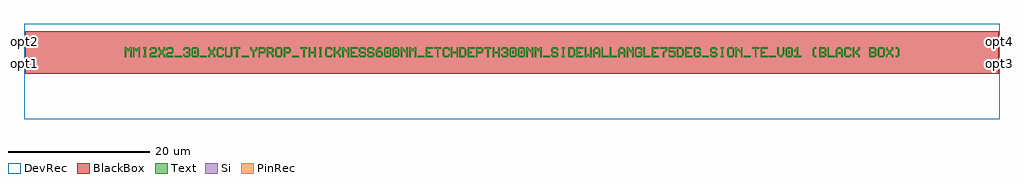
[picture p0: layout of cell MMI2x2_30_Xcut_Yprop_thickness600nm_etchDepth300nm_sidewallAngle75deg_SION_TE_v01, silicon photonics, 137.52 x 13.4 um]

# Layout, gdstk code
import gdstk
lib = gdstk.Library(unit=1e-6, precision=1e-10)
def R(c, l, rs):  # rectangles x0, y0, x1, y1
    for r in rs: c.add(gdstk.rectangle(r[:2], r[2:], *l))
def A(c, l, x, y, w, h, nx, ny, dx, dy):  # array of equal rectangles
    R(c, l, [(x+i*dx, y+j*dy, x+i*dx+w, y+j*dy+h) for i in range(nx) for j in range(ny)])
def P(c, l, *ps):  # polygons
    for p in ps: c.add(gdstk.Polygon(p, *l))
Si = (1, 0)
PinRec = (1, 10)
Text = (10, 0)
DevRec = (68, 0)
BlackBox = (998, 0)

text = lib.new_cell('TEXT')
A(text, Text, 23.58, 0, 0.983, 0.197, 3, 1, 17.685, 0)
R(text, Text, [(7.074,0,8.057,0.197), (10.611,0,11.594,0.197), (16.506,0,17.489,0.197), (81.351,0,82.334,0.197), (87.246,0,88.229,0.197), (90.783,0,91.766,0.197), (9.825,0.491,10.022,0.885), (36.942,0.491,37.139,0.885), (38.121,0.491,38.318,0.885), (54.627,0.491,54.824,0.885), (55.806,0.491,56.003,0.885), (93.534,0.491,93.731,0.885)])
P(text, Text, [(0,0),(0,1.376),(0.197,1.376),(0.393,1.179),(0.59,1.179),(0.786,1.376),(0.983,1.376),(0.983,0),(0.786,0),(0.786,0.983),(0.688,0.983),(0.491,0.786),(0.295,0.983),(0.197,0.983),(0.197,0)],
  [(1.179,0),(1.179,1.376),(1.376,1.376),(1.572,1.179),(1.769,1.179),(1.965,1.376),(2.162,1.376),(2.162,0),(1.965,0),(1.965,0.983),(1.867,0.983),(1.67,0.786),(1.474,0.983),(1.376,0.983),(1.376,0)],
  [(2.653,0),(2.653,0.197),(2.751,0.197),(2.751,1.179),(2.653,1.179),(2.653,1.376),(3.046,1.376),(3.046,1.179),(2.948,1.179),(2.948,0.197),(3.046,0.197),(3.046,0)],
  [(3.537,0),(3.537,0.491),(3.734,0.688),(4.225,0.688),(4.323,0.786),(4.323,1.081),(4.225,1.179),(3.832,1.179),(3.734,1.081),(3.734,0.983),(3.537,0.983),(3.537,1.179),(3.734,1.376),(4.323,1.376),(4.52,1.179),(4.52,0.688),(4.323,0.491),(3.832,0.491),(3.734,0.393),(3.734,0.197),(4.52,0.197),(4.52,0)],
  [(4.716,0),(4.716,0.295),(5.011,0.59),(5.011,0.786),(4.716,1.081),(4.716,1.376),(4.913,1.376),(4.913,1.179),(5.207,0.885),(5.502,1.179),(5.502,1.376),(5.699,1.376),(5.699,1.081),(5.404,0.786),(5.404,0.59),(5.699,0.295),(5.699,0),(5.502,0),(5.502,0.197),(5.207,0.491),(4.913,0.197),(4.913,0)],
  [(5.895,0),(5.895,0.491),(6.092,0.688),(6.583,0.688),(6.681,0.786),(6.681,1.081),(6.583,1.179),(6.19,1.179),(6.092,1.081),(6.092,0.983),(5.895,0.983),(5.895,1.179),(6.092,1.376),(6.681,1.376),(6.878,1.179),(6.878,0.688),(6.681,0.491),(6.19,0.491),(6.092,0.393),(6.092,0.197),(6.878,0.197),(6.878,0)],
  [(8.45,0),(8.253,0.197),(8.253,0.393),(8.45,0.393),(8.45,0.295),(8.548,0.197),(8.941,0.197),(9.039,0.295),(9.039,0.491),(8.941,0.59),(8.646,0.59),(8.646,0.786),(8.941,0.786),(9.039,0.885),(9.039,1.081),(8.941,1.179),(8.548,1.179),(8.45,1.081),(8.45,0.983),(8.253,0.983),(8.253,1.179),(8.45,1.376),(9.039,1.376),(9.236,1.179),(9.236,0.786),(9.138,0.688),(9.236,0.59),(9.236,0.197),(9.039,0)],
  [(9.629,0),(9.432,0.197),(9.432,1.179),(9.629,1.376),(10.218,1.376),(10.415,1.179),(9.727,1.179),(9.629,1.081),(9.629,0.295),(9.727,0.197),(10.12,0.197),(10.218,0.295),(10.218,1.081),(10.12,1.179),(10.415,1.179),(10.415,0.197),(10.218,0)],
  [(11.79,0),(11.79,0.295),(12.085,0.59),(12.085,0.786),(11.79,1.081),(11.79,1.376),(11.987,1.376),(11.987,1.179),(12.281,0.885),(12.576,1.179),(12.576,1.376),(12.773,1.376),(12.773,1.081),(12.478,0.786),(12.478,0.59),(12.773,0.295),(12.773,0),(12.576,0),(12.576,0.197),(12.281,0.491),(11.987,0.197),(11.987,0)],
  [(13.166,0),(12.969,0.197),(12.969,1.179),(13.166,1.376),(13.755,1.376),(13.952,1.179),(13.952,0.983),(13.755,0.983),(13.755,1.081),(13.657,1.179),(13.264,1.179),(13.166,1.081),(13.166,0.295),(13.264,0.197),(13.657,0.197),(13.755,0.295),(13.755,0.393),(13.952,0.393),(13.952,0.197),(13.755,0)],
  [(14.345,0),(14.148,0.197),(14.148,1.376),(14.345,1.376),(14.345,0.295),(14.443,0.197),(14.836,0.197),(14.934,0.295),(14.934,1.376),(15.131,1.376),(15.131,0.197),(14.934,0)],
  [(15.72,0),(15.72,1.179),(15.327,1.179),(15.327,1.376),(16.31,1.376),(16.31,1.179),(15.917,1.179),(15.917,0)],
  [(18.078,0),(18.078,0.688),(17.685,1.081),(17.685,1.376),(17.882,1.376),(17.882,1.179),(18.176,0.885),(18.471,1.179),(18.471,1.376),(18.668,1.376),(18.668,1.081),(18.275,0.688),(18.275,0)],
  [(18.864,0),(18.864,1.376),(19.65,1.376),(19.847,1.179),(19.847,0.786),(19.65,0.59),(19.061,0.59),(19.061,0.786),(19.552,0.786),(19.65,0.885),(19.65,1.081),(19.552,1.179),(19.061,1.179),(19.061,0)],
  [(20.043,0),(20.043,1.376),(20.829,1.376),(21.026,1.179),(20.24,1.179),(20.24,0.786),(20.731,0.786),(20.829,0.885),(20.829,1.081),(20.731,1.179),(21.026,1.179),(21.026,0.786),(20.829,0.59),(20.829,0.491),(21.026,0.295),(21.026,0),(20.829,0),(20.829,0.197),(20.436,0.59),(20.24,0.59),(20.24,0)],
  [(21.419,0),(21.222,0.197),(21.222,1.179),(21.419,1.376),(22.008,1.376),(22.205,1.179),(22.205,0.688),(22.008,0.688),(22.008,1.081),(21.91,1.179),(21.517,1.179),(21.419,1.081),(21.419,0.295),(21.517,0.197),(21.91,0.197),(22.008,0.295),(22.008,0.688),(22.205,0.688),(22.205,0.197),(22.008,0)],
  [(22.401,0),(22.401,1.376),(23.187,1.376),(23.384,1.179),(23.384,0.786),(23.187,0.59),(22.598,0.59),(22.598,0.786),(23.089,0.786),(23.187,0.885),(23.187,1.081),(23.089,1.179),(22.598,1.179),(22.598,0)],
  [(25.152,0),(25.152,1.179),(24.759,1.179),(24.759,1.376),(25.742,1.376),(25.742,1.179),(25.349,1.179),(25.349,0)],
  [(25.938,0),(25.938,1.376),(26.135,1.376),(26.135,0.786),(26.724,0.786),(26.724,1.376),(26.921,1.376),(26.921,0),(26.724,0),(26.724,0.59),(26.135,0.59),(26.135,0)],
  [(27.412,0),(27.412,0.197),(27.51,0.197),(27.51,1.179),(27.412,1.179),(27.412,1.376),(27.805,1.376),(27.805,1.179),(27.707,1.179),(27.707,0.197),(27.805,0.197),(27.805,0)],
  [(28.493,0),(28.296,0.197),(28.296,1.179),(28.493,1.376),(29.082,1.376),(29.279,1.179),(29.279,0.983),(29.082,0.983),(29.082,1.081),(28.984,1.179),(28.591,1.179),(28.493,1.081),(28.493,0.295),(28.591,0.197),(28.984,0.197),(29.082,0.295),(29.082,0.393),(29.279,0.393),(29.279,0.197),(29.082,0)],
  [(29.475,0),(29.475,1.376),(29.672,1.376),(29.672,0.786),(29.868,0.786),(30.261,1.179),(30.261,1.376),(30.458,1.376),(30.458,1.081),(30.065,0.688),(30.458,0.295),(30.458,0),(30.261,0),(30.261,0.197),(29.868,0.59),(29.672,0.59),(29.672,0)],
  [(30.654,0),(30.654,1.376),(30.851,1.376),(31.342,0.885),(31.44,0.885),(31.44,1.376),(31.637,1.376),(31.637,0),(31.44,0),(31.44,0.491),(30.949,0.983),(30.851,0.983),(30.851,0)],
  [(31.833,0),(31.833,1.376),(32.816,1.376),(32.816,1.179),(32.03,1.179),(32.03,0.786),(32.423,0.786),(32.423,0.59),(32.03,0.59),(32.03,0.197),(32.816,0.197),(32.816,0)],
  [(33.209,0),(33.012,0.197),(33.012,0.393),(33.209,0.393),(33.209,0.295),(33.307,0.197),(33.7,0.197),(33.798,0.295),(33.798,0.491),(33.7,0.59),(33.209,0.59),(33.012,0.786),(33.012,1.179),(33.209,1.376),(33.798,1.376),(33.995,1.179),(33.995,0.983),(33.798,0.983),(33.798,1.081),(33.7,1.179),(33.307,1.179),(33.209,1.081),(33.209,0.885),(33.307,0.786),(33.798,0.786),(33.995,0.59),(33.995,0.197),(33.798,0)],
  [(34.388,0),(34.191,0.197),(34.191,0.393),(34.388,0.393),(34.388,0.295),(34.486,0.197),(34.879,0.197),(34.977,0.295),(34.977,0.491),(34.879,0.59),(34.388,0.59),(34.191,0.786),(34.191,1.179),(34.388,1.376),(34.977,1.376),(35.174,1.179),(35.174,0.983),(34.977,0.983),(34.977,1.081),(34.879,1.179),(34.486,1.179),(34.388,1.081),(34.388,0.885),(34.486,0.786),(34.977,0.786),(35.174,0.59),(35.174,0.197),(34.977,0)],
  [(35.567,0),(35.37,0.197),(35.37,0.983),(35.763,1.376),(36.156,1.376),(36.156,1.179),(35.861,1.179),(35.665,0.983),(35.665,0.885),(36.156,0.885),(36.353,0.688),(35.665,0.688),(35.567,0.59),(35.567,0.295),(35.665,0.197),(36.058,0.197),(36.156,0.295),(36.156,0.59),(36.058,0.688),(36.353,0.688),(36.353,0.197),(36.156,0)],
  [(36.746,0),(36.549,0.197),(36.549,1.179),(36.746,1.376),(37.335,1.376),(37.532,1.179),(36.844,1.179),(36.746,1.081),(36.746,0.295),(36.844,0.197),(37.237,0.197),(37.335,0.295),(37.335,1.081),(37.237,1.179),(37.532,1.179),(37.532,0.197),(37.335,0)],
  [(37.925,0),(37.728,0.197),(37.728,1.179),(37.925,1.376),(38.514,1.376),(38.711,1.179),(38.023,1.179),(37.925,1.081),(37.925,0.295),(38.023,0.197),(38.416,0.197),(38.514,0.295),(38.514,1.081),(38.416,1.179),(38.711,1.179),(38.711,0.197),(38.514,0)],
  [(38.907,0),(38.907,1.376),(39.104,1.376),(39.595,0.885),(39.693,0.885),(39.693,1.376),(39.89,1.376),(39.89,0),(39.693,0),(39.693,0.491),(39.202,0.983),(39.104,0.983),(39.104,0)],
  [(40.086,0),(40.086,1.376),(40.283,1.376),(40.479,1.179),(40.676,1.179),(40.872,1.376),(41.069,1.376),(41.069,0),(40.872,0),(40.872,0.983),(40.774,0.983),(40.577,0.786),(40.381,0.983),(40.283,0.983),(40.283,0)],
  [(42.444,0),(42.444,1.376),(43.427,1.376),(43.427,1.179),(42.641,1.179),(42.641,0.786),(43.034,0.786),(43.034,0.59),(42.641,0.59),(42.641,0.197),(43.427,0.197),(43.427,0)],
  [(44.016,0),(44.016,1.179),(43.623,1.179),(43.623,1.376),(44.606,1.376),(44.606,1.179),(44.213,1.179),(44.213,0)],
  [(44.999,0),(44.802,0.197),(44.802,1.179),(44.999,1.376),(45.588,1.376),(45.785,1.179),(45.785,0.983),(45.588,0.983),(45.588,1.081),(45.49,1.179),(45.097,1.179),(44.999,1.081),(44.999,0.295),(45.097,0.197),(45.49,0.197),(45.588,0.295),(45.588,0.393),(45.785,0.393),(45.785,0.197),(45.588,0)],
  [(45.981,0),(45.981,1.376),(46.178,1.376),(46.178,0.786),(46.767,0.786),(46.767,1.376),(46.964,1.376),(46.964,0),(46.767,0),(46.767,0.59),(46.178,0.59),(46.178,0)],
  [(47.16,0),(47.16,1.376),(47.848,1.376),(48.045,1.179),(47.357,1.179),(47.357,0.197),(47.75,0.197),(47.946,0.393),(47.946,0.983),(47.75,1.179),(48.045,1.179),(48.143,1.081),(48.143,0.295),(47.848,0)],
  [(48.339,0),(48.339,1.376),(49.322,1.376),(49.322,1.179),(48.536,1.179),(48.536,0.786),(48.929,0.786),(48.929,0.59),(48.536,0.59),(48.536,0.197),(49.322,0.197),(49.322,0)],
  [(49.518,0),(49.518,1.376),(50.304,1.376),(50.501,1.179),(50.501,0.786),(50.304,0.59),(49.715,0.59),(49.715,0.786),(50.206,0.786),(50.304,0.885),(50.304,1.081),(50.206,1.179),(49.715,1.179),(49.715,0)],
  [(51.09,0),(51.09,1.179),(50.697,1.179),(50.697,1.376),(51.68,1.376),(51.68,1.179),(51.287,1.179),(51.287,0)],
  [(51.876,0),(51.876,1.376),(52.073,1.376),(52.073,0.786),(52.662,0.786),(52.662,1.376),(52.859,1.376),(52.859,0),(52.662,0),(52.662,0.59),(52.073,0.59),(52.073,0)],
  [(53.252,0),(53.055,0.197),(53.055,0.393),(53.252,0.393),(53.252,0.295),(53.35,0.197),(53.743,0.197),(53.841,0.295),(53.841,0.491),(53.743,0.59),(53.448,0.59),(53.448,0.786),(53.743,0.786),(53.841,0.885),(53.841,1.081),(53.743,1.179),(53.35,1.179),(53.252,1.081),(53.252,0.983),(53.055,0.983),(53.055,1.179),(53.252,1.376),(53.841,1.376),(54.038,1.179),(54.038,0.786),(53.94,0.688),(54.038,0.59),(54.038,0.197),(53.841,0)],
  [(54.431,0),(54.234,0.197),(54.234,1.179),(54.431,1.376),(55.02,1.376),(55.217,1.179),(54.529,1.179),(54.431,1.081),(54.431,0.295),(54.529,0.197),(54.922,0.197),(55.02,0.295),(55.02,1.081),(54.922,1.179),(55.217,1.179),(55.217,0.197),(55.02,0)],
  [(55.61,0),(55.413,0.197),(55.413,1.179),(55.61,1.376),(56.199,1.376),(56.396,1.179),(55.708,1.179),(55.61,1.081),(55.61,0.295),(55.708,0.197),(56.101,0.197),(56.199,0.295),(56.199,1.081),(56.101,1.179),(56.396,1.179),(56.396,0.197),(56.199,0)],
  [(56.592,0),(56.592,1.376),(56.789,1.376),(57.28,0.885),(57.378,0.885),(57.378,1.376),(57.575,1.376),(57.575,0),(57.378,0),(57.378,0.491),(56.887,0.983),(56.789,0.983),(56.789,0)],
  [(57.771,0),(57.771,1.376),(57.968,1.376),(58.164,1.179),(58.361,1.179),(58.557,1.376),(58.754,1.376),(58.754,0),(58.557,0),(58.557,0.983),(58.459,0.983),(58.262,0.786),(58.066,0.983),(57.968,0.983),(57.968,0)],
  [(60.326,0),(60.129,0.197),(60.129,0.393),(60.326,0.393),(60.326,0.295),(60.424,0.197),(60.817,0.197),(60.915,0.295),(60.915,0.491),(60.817,0.59),(60.326,0.59),(60.129,0.786),(60.129,1.179),(60.326,1.376),(60.915,1.376),(61.112,1.179),(61.112,0.983),(60.915,0.983),(60.915,1.081),(60.817,1.179),(60.424,1.179),(60.326,1.081),(60.326,0.885),(60.424,0.786),(60.915,0.786),(61.112,0.59),(61.112,0.197),(60.915,0)],
  [(61.603,0),(61.603,0.197),(61.701,0.197),(61.701,1.179),(61.603,1.179),(61.603,1.376),(61.996,1.376),(61.996,1.179),(61.898,1.179),(61.898,0.197),(61.996,0.197),(61.996,0)],
  [(62.487,0),(62.487,1.376),(63.175,1.376),(63.372,1.179),(62.684,1.179),(62.684,0.197),(63.077,0.197),(63.273,0.393),(63.273,0.983),(63.077,1.179),(63.372,1.179),(63.47,1.081),(63.47,0.295),(63.175,0)],
  [(63.666,0),(63.666,1.376),(64.649,1.376),(64.649,1.179),(63.863,1.179),(63.863,0.786),(64.256,0.786),(64.256,0.59),(63.863,0.59),(63.863,0.197),(64.649,0.197),(64.649,0)],
  [(64.845,0),(64.845,1.376),(65.042,1.376),(65.042,0.295),(65.14,0.295),(65.336,0.491),(65.533,0.295),(65.631,0.295),(65.631,1.376),(65.828,1.376),(65.828,0),(65.533,0),(65.336,0.197),(65.14,0)],
  [(66.024,0),(66.024,1.081),(66.319,1.376),(66.712,1.376),(66.909,1.179),(66.417,1.179),(66.221,0.983),(66.221,0.688),(66.81,0.688),(66.81,0.983),(66.614,1.179),(66.909,1.179),(67.007,1.081),(67.007,0),(66.81,0),(66.81,0.491),(66.221,0.491),(66.221,0)],
  [(67.203,0),(67.203,1.376),(67.4,1.376),(67.4,0.197),(68.186,0.197),(68.186,0)],
  [(68.382,0),(68.382,1.376),(68.579,1.376),(68.579,0.197),(69.365,0.197),(69.365,0)],
  [(69.561,0),(69.561,1.081),(69.856,1.376),(70.249,1.376),(70.446,1.179),(69.954,1.179),(69.758,0.983),(69.758,0.688),(70.347,0.688),(70.347,0.983),(70.151,1.179),(70.446,1.179),(70.544,1.081),(70.544,0),(70.347,0),(70.347,0.491),(69.758,0.491),(69.758,0)],
  [(70.74,0),(70.74,1.376),(70.937,1.376),(71.428,0.885),(71.526,0.885),(71.526,1.376),(71.723,1.376),(71.723,0),(71.526,0),(71.526,0.491),(71.035,0.983),(70.937,0.983),(70.937,0)],
  [(72.116,0),(71.919,0.197),(71.919,1.179),(72.116,1.376),(72.705,1.376),(72.902,1.179),(72.902,0.983),(72.705,0.983),(72.705,1.081),(72.607,1.179),(72.214,1.179),(72.116,1.081),(72.116,0.295),(72.214,0.197),(72.607,0.197),(72.705,0.295),(72.705,0.59),(72.41,0.59),(72.41,0.786),(72.902,0.786),(72.902,0.197),(72.705,0)],
  [(73.098,0),(73.098,1.376),(73.295,1.376),(73.295,0.197),(74.081,0.197),(74.081,0)],
  [(74.277,0),(74.277,1.376),(75.26,1.376),(75.26,1.179),(74.474,1.179),(74.474,0.786),(74.867,0.786),(74.867,0.59),(74.474,0.59),(74.474,0.197),(75.26,0.197),(75.26,0)],
  [(75.849,0),(75.849,0.688),(76.242,1.081),(76.242,1.179),(75.456,1.179),(75.456,1.376),(76.439,1.376),(76.439,0.983),(76.046,0.59),(76.046,0)],
  [(76.832,0),(76.635,0.197),(76.635,0.393),(76.832,0.393),(76.832,0.295),(76.93,0.197),(77.323,0.197),(77.421,0.295),(77.421,0.59),(77.323,0.688),(76.635,0.688),(76.635,1.376),(77.618,1.376),(77.618,1.179),(76.832,1.179),(76.832,0.885),(77.421,0.885),(77.618,0.688),(77.618,0.197),(77.421,0)],
  [(77.814,0),(77.814,1.376),(78.502,1.376),(78.699,1.179),(78.011,1.179),(78.011,0.197),(78.404,0.197),(78.6,0.393),(78.6,0.983),(78.404,1.179),(78.699,1.179),(78.797,1.081),(78.797,0.295),(78.502,0)],
  [(78.993,0),(78.993,1.376),(79.976,1.376),(79.976,1.179),(79.19,1.179),(79.19,0.786),(79.583,0.786),(79.583,0.59),(79.19,0.59),(79.19,0.197),(79.976,0.197),(79.976,0)],
  [(80.369,0),(80.172,0.197),(80.172,1.179),(80.369,1.376),(80.958,1.376),(81.155,1.179),(81.155,0.983),(80.958,0.983),(80.958,1.081),(80.86,1.179),(80.467,1.179),(80.369,1.081),(80.369,0.295),(80.467,0.197),(80.86,0.197),(80.958,0.295),(80.958,0.59),(80.663,0.59),(80.663,0.786),(81.155,0.786),(81.155,0.197),(80.958,0)],
  [(82.727,0),(82.53,0.197),(82.53,0.393),(82.727,0.393),(82.727,0.295),(82.825,0.197),(83.218,0.197),(83.316,0.295),(83.316,0.491),(83.218,0.59),(82.727,0.59),(82.53,0.786),(82.53,1.179),(82.727,1.376),(83.316,1.376),(83.513,1.179),(83.513,0.983),(83.316,0.983),(83.316,1.081),(83.218,1.179),(82.825,1.179),(82.727,1.081),(82.727,0.885),(82.825,0.786),(83.316,0.786),(83.513,0.59),(83.513,0.197),(83.316,0)],
  [(84.004,0),(84.004,0.197),(84.102,0.197),(84.102,1.179),(84.004,1.179),(84.004,1.376),(84.397,1.376),(84.397,1.179),(84.299,1.179),(84.299,0.197),(84.397,0.197),(84.397,0)],
  [(85.085,0),(84.888,0.197),(84.888,1.179),(85.085,1.376),(85.674,1.376),(85.871,1.179),(85.871,0.688),(85.674,0.688),(85.674,1.081),(85.576,1.179),(85.183,1.179),(85.085,1.081),(85.085,0.295),(85.183,0.197),(85.576,0.197),(85.674,0.295),(85.674,0.688),(85.871,0.688),(85.871,0.197),(85.674,0)],
  [(86.067,0),(86.067,1.376),(86.264,1.376),(86.755,0.885),(86.853,0.885),(86.853,1.376),(87.05,1.376),(87.05,0),(86.853,0),(86.853,0.491),(86.362,0.983),(86.264,0.983),(86.264,0)],
  [(88.818,0),(88.818,1.179),(88.425,1.179),(88.425,1.376),(89.408,1.376),(89.408,1.179),(89.015,1.179),(89.015,0)],
  [(89.604,0),(89.604,1.376),(90.587,1.376),(90.587,1.179),(89.801,1.179),(89.801,0.786),(90.194,0.786),(90.194,0.59),(89.801,0.59),(89.801,0.197),(90.587,0.197),(90.587,0)],
  [(92.355,0),(91.962,0.393),(91.962,1.376),(92.159,1.376),(92.159,0.491),(92.453,0.197),(92.748,0.491),(92.748,1.376),(92.945,1.376),(92.945,0.393),(92.552,0)],
  [(93.338,0),(93.141,0.197),(93.141,1.179),(93.338,1.376),(93.927,1.376),(94.124,1.179),(93.436,1.179),(93.338,1.081),(93.338,0.295),(93.436,0.197),(93.829,0.197),(93.927,0.295),(93.927,1.081),(93.829,1.179),(94.124,1.179),(94.124,0.197),(93.927,0)],
  [(94.32,0),(94.32,0.197),(94.713,0.197),(94.713,0.983),(94.615,0.983),(94.418,0.786),(94.32,0.786),(94.32,0.983),(94.713,1.376),(94.91,1.376),(94.91,0.197),(95.303,0.197),(95.303,0)],
  [(97.169,0),(96.973,0.197),(96.973,1.179),(97.169,1.376),(97.464,1.376),(97.464,1.179),(97.268,1.179),(97.169,1.081),(97.169,0.295),(97.268,0.197),(97.464,0.197),(97.464,0)],
  [(97.857,0),(97.857,1.376),(98.643,1.376),(98.84,1.179),(98.054,1.179),(98.054,0.786),(98.545,0.786),(98.643,0.885),(98.643,1.081),(98.545,1.179),(98.84,1.179),(98.84,0.786),(98.742,0.688),(98.84,0.59),(98.054,0.59),(98.054,0.197),(98.545,0.197),(98.643,0.295),(98.643,0.491),(98.545,0.59),(98.84,0.59),(98.84,0.197),(98.643,0)],
  [(99.036,0),(99.036,1.376),(99.233,1.376),(99.233,0.197),(100.019,0.197),(100.019,0)],
  [(100.215,0),(100.215,1.081),(100.51,1.376),(100.903,1.376),(101.1,1.179),(100.608,1.179),(100.412,0.983),(100.412,0.688),(101.001,0.688),(101.001,0.983),(100.805,1.179),(101.1,1.179),(101.198,1.081),(101.198,0),(101.001,0),(101.001,0.491),(100.412,0.491),(100.412,0)],
  [(101.591,0),(101.394,0.197),(101.394,1.179),(101.591,1.376),(102.18,1.376),(102.377,1.179),(102.377,0.983),(102.18,0.983),(102.18,1.081),(102.082,1.179),(101.689,1.179),(101.591,1.081),(101.591,0.295),(101.689,0.197),(102.082,0.197),(102.18,0.295),(102.18,0.393),(102.377,0.393),(102.377,0.197),(102.18,0)],
  [(102.573,0),(102.573,1.376),(102.77,1.376),(102.77,0.786),(102.966,0.786),(103.359,1.179),(103.359,1.376),(103.556,1.376),(103.556,1.081),(103.163,0.688),(103.556,0.295),(103.556,0),(103.359,0),(103.359,0.197),(102.966,0.59),(102.77,0.59),(102.77,0)],
  [(104.931,0),(104.931,1.376),(105.717,1.376),(105.914,1.179),(105.128,1.179),(105.128,0.786),(105.619,0.786),(105.717,0.885),(105.717,1.081),(105.619,1.179),(105.914,1.179),(105.914,0.786),(105.816,0.688),(105.914,0.59),(105.128,0.59),(105.128,0.197),(105.619,0.197),(105.717,0.295),(105.717,0.491),(105.619,0.59),(105.914,0.59),(105.914,0.197),(105.717,0)],
  [(106.307,0),(106.11,0.197),(106.11,1.179),(106.307,1.376),(106.896,1.376),(107.093,1.179),(107.093,0.688),(106.896,0.688),(106.896,1.081),(106.798,1.179),(106.405,1.179),(106.307,1.081),(106.307,0.295),(106.405,0.197),(106.798,0.197),(106.896,0.295),(106.896,0.688),(107.093,0.688),(107.093,0.197),(106.896,0)],
  [(107.289,0),(107.289,0.295),(107.584,0.59),(107.584,0.786),(107.289,1.081),(107.289,1.376),(107.486,1.376),(107.486,1.179),(107.78,0.885),(108.075,1.179),(108.075,1.376),(108.272,1.376),(108.272,1.081),(107.977,0.786),(107.977,0.59),(108.272,0.295),(108.272,0),(108.075,0),(108.075,0.197),(107.78,0.491),(107.486,0.197),(107.486,0)],
  [(108.665,0),(108.665,0.197),(108.861,0.197),(108.959,0.295),(108.959,1.081),(108.861,1.179),(108.665,1.179),(108.665,1.376),(108.959,1.376),(109.156,1.179),(109.156,0.197),(108.959,0)])

mmi2x2_30_xcut_yprop_thi = lib.new_cell('MMI2x2_30_Xcut_Yprop_thickness600nm_etchDepth300nm_sidewallAngle75deg_SION_TE_v01')
R(mmi2x2_30_xcut_yprop_thi, Si, [(-68.75,-2.25,-68.55,-0.85), (68.55,-2.25,68.75,-0.85), (-68.75,0.85,-68.55,2.25), (68.55,0.85,68.75,2.25)])
R(mmi2x2_30_xcut_yprop_thi, DevRec, [(-68.75,-9.4,68.75,4)])
R(mmi2x2_30_xcut_yprop_thi, BlackBox, [(-68.55,-3,68.55,3)])
mmi2x2_30_xcut_yprop_thi.add(gdstk.FlexPath([(-68.74,-1.55),(-68.76,-1.55)], 1.4, ends="flush", simple_path=True, layer=1, datatype=10))  # PinRec
mmi2x2_30_xcut_yprop_thi.add(gdstk.FlexPath([(-68.74,1.55),(-68.76,1.55)], 1.4, ends="flush", simple_path=True, layer=1, datatype=10))  # PinRec
mmi2x2_30_xcut_yprop_thi.add(gdstk.FlexPath([(68.74,-1.55),(68.76,-1.55)], 1.4, ends="flush", simple_path=True, layer=1, datatype=10))  # PinRec
mmi2x2_30_xcut_yprop_thi.add(gdstk.FlexPath([(68.74,1.55),(68.76,1.55)], 1.4, ends="flush", simple_path=True, layer=1, datatype=10))  # PinRec
mmi2x2_30_xcut_yprop_thi.add(gdstk.Reference(text, (-54.578,-0.688)))
mmi2x2_30_xcut_yprop_thi.add(gdstk.Label('opt1', (-68.75,-1.55), layer=1, texttype=10))
mmi2x2_30_xcut_yprop_thi.add(gdstk.Label('opt2', (-68.75,1.55), layer=1, texttype=10))
mmi2x2_30_xcut_yprop_thi.add(gdstk.Label('opt3', (68.75,-1.55), layer=1, texttype=10))
mmi2x2_30_xcut_yprop_thi.add(gdstk.Label('opt4', (68.75,1.55), layer=1, texttype=10))
mmi2x2_30_xcut_yprop_thi.add(gdstk.Label('By Songliang Chen, 2026/10/13', (-68.25,-3.5), layer=10, texttype=0))

lib.write_gds('MMI2x2_30_Xcut_Yprop_thickness600nm_etchDepth300nm_sidewallAngle75deg_SION_TE_v01.gds')
